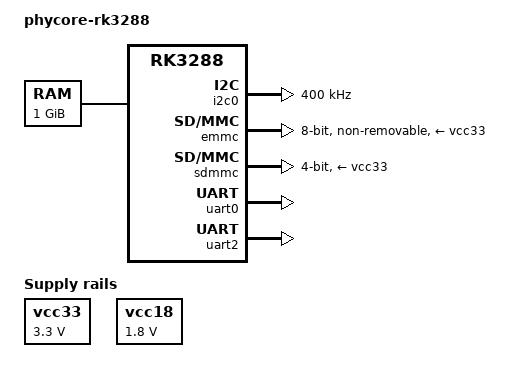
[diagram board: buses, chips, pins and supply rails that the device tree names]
/*
 * Copyright (C) 2016 PHYTEC Messtechnik GmbH,
 * Author: Wadim Egorov <w.egorov@phytec.de>
 *
 * This program is free software; you can redistribute it and/or
 * modify it under the terms of the GNU General Public License
 * version 2 as published by the Free Software Foundation.
 *
 * This program is distributed in the hope that it will be useful,
 * but WITHOUT ANY WARRANTY; without even the implied warranty of
 * MERCHANTABILITY or FITNESS FOR A PARTICULAR PURPOSE.  See the
 * GNU General Public License for more details.
 */

/dts-v1/;

#include <arm/rk3288.dtsi>

/ {
	model = "phycore-rk3288";
	compatible = "phytec,rk3288-phycore-som", "rockchip,rk3288";

	memory {
		reg = <0 0x40000000>;
	};

	vcc33: fixedregulator@0 {
		compatible = "regulator-fixed";
		regulator-name = "vcc33";
		regulator-min-microvolt = <3300000>;
		regulator-max-microvolt = <3300000>;
		startup-delay-us = <100000>;
		regulator-boot-on;
		regulator-always-on;
	};

	vcc18: fixedregulator@1 {
		compatible = "regulator-fixed";
		regulator-name = "vcc18";
		regulator-min-microvolt = <1800000>;
		regulator-max-microvolt = <1800000>;
		regulator-boot-on;
		regulator-always-on;
	};

	chosen {
		stdout-path = &uart0;

		environment-emmc {
			compatible = "barebox,environment";
			device-path = &emmc, "partname:barebox-environment";
			status = "disabled";
		};

		environment-sdmmc {
			compatible = "barebox,environment";
			device-path = &sdmmc, "partname:barebox-environment";
			status = "disabled";
		};
	};
};

&pinctrl {
	sdmmc {
		sdmmc_pwr: sdmmc-pwr {
			rockchip,pins = <7 11 RK_FUNC_GPIO &pcfg_pull_none>;
		};
	};
};

&i2c0 {
	clock-frequency = <400000>;
	status = "okay";
};

&emmc {
	broken-cd;
	bus-width = <8>;
	cap-mmc-highspeed;
	disable-wp;
	non-removable;
	num-slots = <1>;
	pinctrl-names = "default";
	pinctrl-0 = <&emmc_clk>, <&emmc_cmd>, <&emmc_pwr>, <&emmc_bus8>;
	vmmc-supply = <&vcc33>;
	vqmmc-supply = <&vcc18>;
	status = "okay";

	#size-cells = <1>;
	#address-cells = <1>;

	partition@8000 {
		label = "spl";
		reg = <0x8000 0x8000>;
	};

	partition@20000 {
		label = "barebox";
		reg = <0x20000 0x80000>;
	};

	partition@a0000 {
		label = "barebox-environment";
		reg = <0xa0000 0x20000>;
	};
};

&sdmmc {
	bus-width = <4>;
	cap-mmc-highspeed;
	cap-sd-highspeed;
	card-detect-delay = <200>;
	disable-wp;
	num-slots = <1>;
	pinctrl-names = "default";
	pinctrl-0 = <&sdmmc_clk>, <&sdmmc_cmd>, <&sdmmc_cd>, <&sdmmc_bus4>;
	vmmc-supply = <&vcc33>;
	status = "okay";

	#address-cells = <1>;
	#size-cells = <1>;

	partition@8000 {
		label = "spl";
		reg = <0x8000 0x8000>;
	};

	partition@20000 {
		label = "barebox";
		reg = <0x20000 0x80000>;
	};

	partition@a0000 {
		label = "barebox-environment";
		reg = <0xa0000 0x20000>;
	};
};

&uart0 {
	pinctrl-names = "default";
	pinctrl-0 = <&uart0_xfer>, <&uart0_cts>, <&uart0_rts>;
	reg-shift = <2>;
	status = "okay";
};

&uart2 {
	status = "okay";
};
